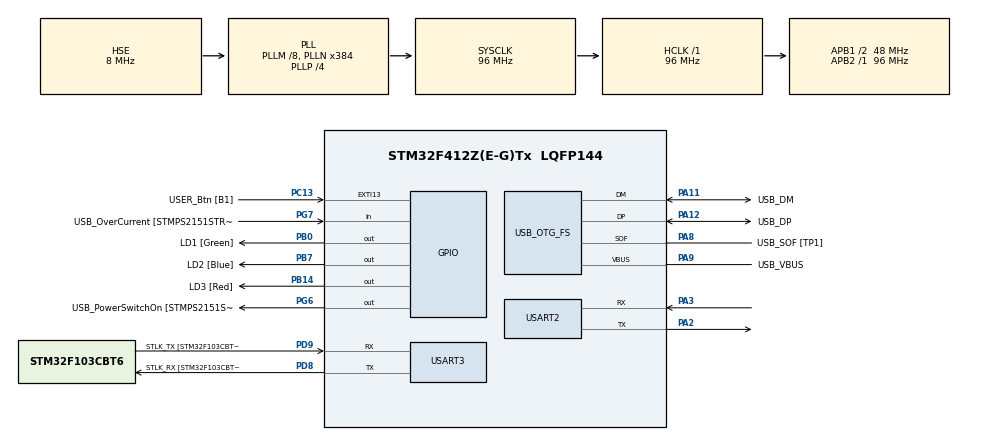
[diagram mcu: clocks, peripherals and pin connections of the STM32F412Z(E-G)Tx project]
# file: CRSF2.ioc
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Dma.Request0=USART2_RX
Dma.USART2_RX.0.Direction=DMA_PERIPH_TO_MEMORY
Dma.USART2_RX.0.FIFOMode=DMA_FIFOMODE_DISABLE
Dma.USART2_RX.0.Instance=DMA1_Stream5
Dma.USART2_RX.0.MemDataAlignment=DMA_MDATAALIGN_BYTE
Dma.USART2_RX.0.MemInc=DMA_MINC_ENABLE
Dma.USART2_RX.0.Mode=DMA_CIRCULAR
Dma.USART2_RX.0.PeriphDataAlignment=DMA_PDATAALIGN_BYTE
Dma.USART2_RX.0.PeriphInc=DMA_PINC_DISABLE
Dma.USART2_RX.0.Priority=DMA_PRIORITY_HIGH
Mcu.Family=STM32F4
Mcu.Name=STM32F412Z(E-G)Tx
Mcu.Package=LQFP144
NVIC.DMA1_Stream5_IRQn=true\:5\:0\:false\:false\:true\:false\:true\:true
NVIC.PriorityGroup=NVIC_PRIORITYGROUP_4
NVIC.USART2_IRQn=true\:5\:0\:false\:false\:true\:true\:true\:true
PA10.GPIO_Label=USB_ID
PA10.Signal=USB_OTG_FS_ID
PA11.GPIO_Label=USB_DM
PA11.Mode=Device_Only
PA11.Signal=USB_OTG_FS_DM
PA12.GPIO_Label=USB_DP
PA12.Mode=Device_Only
PA12.Signal=USB_OTG_FS_DP
PA13.GPIO_Label=TMS
PA13.Mode=Serial_Wire
PA13.Signal=SYS_JTMS-SWDIO
PA14.GPIO_Label=TCK
PA14.Mode=Serial_Wire
PA14.Signal=SYS_JTCK-SWCLK
PA2.Mode=Asynchronous
PA2.Signal=USART2_TX
PA3.Mode=Asynchronous
PA3.Signal=USART2_RX
PA8.GPIO_Label=USB_SOF [TP1]
PA8.Mode=Activate_SOF_FS
PA8.Signal=USB_OTG_FS_SOF
PA9.GPIO_Label=USB_VBUS
PA9.Mode=Activate_VBUS
PA9.Signal=USB_OTG_FS_VBUS
PB0.GPIO_Label=LD1 [Green]
PB0.Signal=GPIO_Output
PB14.GPIO_Label=LD3 [Red]
PB14.Signal=GPIO_Output
PB3.GPIO_Label=SWO
PB3.Signal=SYS_JTDO-SWO
PB7.GPIO_Label=LD2 [Blue]
PB7.Signal=GPIO_Output
PC13.GPIO_Label=USER_Btn [B1]
PC13.Signal=GPXTI13
PC14-OSC32_IN.Mode=LSE-External-Oscillator
PC14-OSC32_IN.Signal=RCC_OSC32_IN
PC15-OSC32_OUT.Mode=LSE-External-Oscillator
PC15-OSC32_OUT.Signal=RCC_OSC32_OUT
PD8.GPIO_Label=STLK_RX [STM32F103CBT6_PA3]
PD8.Mode=Asynchronous
PD8.Signal=USART3_TX
PD9.GPIO_Label=STLK_TX [STM32F103CBT6_PA2]
PD9.Mode=Asynchronous
PD9.Signal=USART3_RX
PG6.GPIO_Label=USB_PowerSwitchOn [STMPS2151STR_EN]
PG6.Signal=GPIO_Output
PG7.GPIO_Label=USB_OverCurrent [STMPS2151STR_FAULT]
PG7.Signal=GPIO_Input
PH0\ -\ OSC_IN.GPIO_Label=MCO
PH0\ -\ OSC_IN.Mode=HSE-External-Clock-Source
PH0\ -\ OSC_IN.Signal=RCC_OSC_IN
PH1\ -\ OSC_OUT.Mode=HSE-External-Clock-Source
PH1\ -\ OSC_OUT.Signal=RCC_OSC_OUT
ProjectManager.HeapSize=0x200
ProjectManager.StackSize=0x400
ProjectManager.TargetToolchain=STM32CubeIDE
RCC.48MHZClocksFreq_Value=24000000
RCC.AHBFreq_Value=96000000
RCC.APB1CLKDivider=RCC_HCLK_DIV2
RCC.APB1Freq_Value=48000000
RCC.APB1TimFreq_Value=96000000
RCC.APB2Freq_Value=96000000
RCC.APB2TimFreq_Value=96000000
RCC.CortexFreq_Value=96000000
RCC.HCLKFreq_Value=96000000
RCC.HSE_VALUE=8000000
RCC.HSI_VALUE=16000000
RCC.PLLM=8
RCC.PLLMUL=RCC_PLL_MUL9
RCC.PLLN=384
RCC.PLLP=RCC_PLLP_DIV4
RCC.PLLQ=8
RCC.PRESCALERUSB=RCC_USBCLKSOURCE_PLL_DIV1_5
RCC.SYSCLKFreq_VALUE=96000000
RCC.SYSCLKSource=RCC_SYSCLKSOURCE_PLLCLK
RCC.SYSCLKSourceVirtual=RCC_SYSCLKSOURCE_PLLCLK
RCC.USBFreq_Value=48000000
RCC.VCOOutputFreq_Value=384000000
USART2.VirtualMode=VM_ASYNC
USART3.VirtualMode=VM_ASYNC
USB_OTG_FS.VirtualMode=Device_Only
board=NUCLEO-F412ZG

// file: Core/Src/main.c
/* USER CODE BEGIN Header */
/**
  ******************************************************************************
  * @file           : main.c
  * @brief          : Main program body
  ******************************************************************************
  * @attention
  *
  * Copyright (c) 2026 STMicroelectronics.
  * All rights reserved.
  *
  * This software is licensed under terms that can be found in the LICENSE file
  * in the root directory of this software component.
  * If no LICENSE file comes with this software, it is provided AS-IS.
  *
  ******************************************************************************
  */
/* USER CODE END Header */
#include "main.h"

/* USER CODE BEGIN Includes */
#include "stdio.h" // Needed for debugging
#include "crsf.h"
/* USER CODE END Includes */

UART_HandleTypeDef huart2;
UART_HandleTypeDef huart3;
DMA_HandleTypeDef hdma_usart2_rx;

PCD_HandleTypeDef hpcd_USB_OTG_FS;

/* USER CODE BEGIN PV */
/* Latest receiver data, global so it can be watched in Live Expressions */
uint16_t rc_us[CRSF_NUM_CHANNELS];
CRSF_LinkStats_t rc_link;
bool rc_link_up;
/* USER CODE END PV */

void SystemClock_Config(void);
static void MX_GPIO_Init(void);
static void MX_DMA_Init(void);
static void MX_USART3_UART_Init(void);
static void MX_USB_OTG_FS_PCD_Init(void);
static void MX_USART2_UART_Init(void);

/* USER CODE BEGIN 0 */
int _write(int file, char *ptr , int len)
	{
		int DataIdx;
		for(DataIdx=0;DataIdx<len; DataIdx++){
			ITM_SendChar(*ptr++);
		}return len;
	}

/* USER CODE END 0 */

int main(void)
{

  /* MCU Configuration--------------------------------------------------------*/

  /* Reset of all peripherals, Initializes the Flash interface and the Systick. */
  HAL_Init();

  /* Configure the system clock */
  SystemClock_Config();

  /* Initialize all configured peripherals */
  MX_GPIO_Init();
  MX_DMA_Init();
  MX_USART3_UART_Init();
  MX_USB_OTG_FS_PCD_Init();
  MX_USART2_UART_Init();
  /* USER CODE BEGIN 2 */
  if (CRSF_Init(&huart2) != HAL_OK)
  {
    Error_Handler();
  }
  /* USER CODE END 2 */

  /* Infinite loop */
  while (1)
  {

    /* USER CODE BEGIN 3 */
    uint16_t raw[CRSF_NUM_CHANNELS];

    CRSF_GetChannels(raw);
    for (uint8_t i = 0U; i < CRSF_NUM_CHANNELS; i++)
    {
      rc_us[i] = CRSF_RawToUs(raw[i]);
      printf("Channel value: %d  - %d \n",i,rc_us[i]);

    }
    CRSF_GetLinkStats(&rc_link);
    rc_link_up = CRSF_IsLinkActive();

    /* Green LED = link up, red LED = no link / failsafe */
    HAL_GPIO_WritePin(LD1_GPIO_Port, LD1_Pin, rc_link_up ? GPIO_PIN_SET : GPIO_PIN_RESET);
    HAL_GPIO_WritePin(LD3_GPIO_Port, LD3_Pin, rc_link_up ? GPIO_PIN_RESET : GPIO_PIN_SET);
    printf("RC Link Status %c \n",rc_link_up);

    HAL_Delay(10);
  }
  /* USER CODE END 3 */
}

void SystemClock_Config(void)
{
  RCC_OscInitTypeDef RCC_OscInitStruct = {0};
  RCC_ClkInitTypeDef RCC_ClkInitStruct = {0};

  /** Configure the main internal regulator output voltage
  */
  __HAL_RCC_PWR_CLK_ENABLE();
  __HAL_PWR_VOLTAGESCALING_CONFIG(PWR_REGULATOR_VOLTAGE_SCALE1);

  /** Initializes the RCC Oscillators according to the specified parameters
  * in the RCC_OscInitTypeDef structure.
  */
  RCC_OscInitStruct.OscillatorType = RCC_OSCILLATORTYPE_HSE;
  RCC_OscInitStruct.HSEState = RCC_HSE_BYPASS;
  RCC_OscInitStruct.PLL.PLLState = RCC_PLL_ON;
  RCC_OscInitStruct.PLL.PLLSource = RCC_PLLSOURCE_HSE;
  RCC_OscInitStruct.PLL.PLLM = 8;
  RCC_OscInitStruct.PLL.PLLN = 384;
  RCC_OscInitStruct.PLL.PLLP = RCC_PLLP_DIV4;
  RCC_OscInitStruct.PLL.PLLQ = 8;
  RCC_OscInitStruct.PLL.PLLR = 2;
  if (HAL_RCC_OscConfig(&RCC_OscInitStruct) != HAL_OK)
  {
    Error_Handler();
  }

  /** Initializes the CPU, AHB and APB buses clocks
  */
  RCC_ClkInitStruct.ClockType = RCC_CLOCKTYPE_HCLK|RCC_CLOCKTYPE_SYSCLK
                              |RCC_CLOCKTYPE_PCLK1|RCC_CLOCKTYPE_PCLK2;
  RCC_ClkInitStruct.SYSCLKSource = RCC_SYSCLKSOURCE_PLLCLK;
  RCC_ClkInitStruct.AHBCLKDivider = RCC_SYSCLK_DIV1;
  RCC_ClkInitStruct.APB1CLKDivider = RCC_HCLK_DIV2;
  RCC_ClkInitStruct.APB2CLKDivider = RCC_HCLK_DIV1;

  if (HAL_RCC_ClockConfig(&RCC_ClkInitStruct, FLASH_LATENCY_3) != HAL_OK)
  {
    Error_Handler();
  }
}

static void MX_USART2_UART_Init(void)
{

  huart2.Instance = USART2;
  huart2.Init.BaudRate = 115200;
  huart2.Init.WordLength = UART_WORDLENGTH_8B;
  huart2.Init.StopBits = UART_STOPBITS_1;
  huart2.Init.Parity = UART_PARITY_NONE;
  huart2.Init.Mode = UART_MODE_TX_RX;
  huart2.Init.HwFlowCtl = UART_HWCONTROL_NONE;
  huart2.Init.OverSampling = UART_OVERSAMPLING_16;
  if (HAL_UART_Init(&huart2) != HAL_OK)
  {
    Error_Handler();
  }

}

static void MX_USART3_UART_Init(void)
{

  huart3.Instance = USART3;
  huart3.Init.BaudRate = 115200;
  huart3.Init.WordLength = UART_WORDLENGTH_8B;
  huart3.Init.StopBits = UART_STOPBITS_1;
  huart3.Init.Parity = UART_PARITY_NONE;
  huart3.Init.Mode = UART_MODE_TX_RX;
  huart3.Init.HwFlowCtl = UART_HWCONTROL_NONE;
  huart3.Init.OverSampling = UART_OVERSAMPLING_16;
  if (HAL_UART_Init(&huart3) != HAL_OK)
  {
    Error_Handler();
  }

}

static void MX_USB_OTG_FS_PCD_Init(void)
{

  hpcd_USB_OTG_FS.Instance = USB_OTG_FS;
  hpcd_USB_OTG_FS.Init.dev_endpoints = 6;
  hpcd_USB_OTG_FS.Init.speed = PCD_SPEED_FULL;
  hpcd_USB_OTG_FS.Init.dma_enable = DISABLE;
  hpcd_USB_OTG_FS.Init.phy_itface = PCD_PHY_EMBEDDED;
  hpcd_USB_OTG_FS.Init.Sof_enable = ENABLE;
  hpcd_USB_OTG_FS.Init.low_power_enable = DISABLE;
  hpcd_USB_OTG_FS.Init.lpm_enable = DISABLE;
  hpcd_USB_OTG_FS.Init.battery_charging_enable = ENABLE;
  hpcd_USB_OTG_FS.Init.vbus_sensing_enable = ENABLE;
  hpcd_USB_OTG_FS.Init.use_dedicated_ep1 = DISABLE;
  if (HAL_PCD_Init(&hpcd_USB_OTG_FS) != HAL_OK)
  {
    Error_Handler();
  }

}

static void MX_DMA_Init(void)
{

  /* DMA controller clock enable */
  __HAL_RCC_DMA1_CLK_ENABLE();

  /* DMA interrupt init */
  /* DMA1_Stream5_IRQn interrupt configuration */
  HAL_NVIC_SetPriority(DMA1_Stream5_IRQn, 5, 0);
  HAL_NVIC_EnableIRQ(DMA1_Stream5_IRQn);

}

static void MX_GPIO_Init(void)
{
  GPIO_InitTypeDef GPIO_InitStruct = {0};

  /* GPIO Ports Clock Enable */
  __HAL_RCC_GPIOC_CLK_ENABLE();
  __HAL_RCC_GPIOH_CLK_ENABLE();
  __HAL_RCC_GPIOA_CLK_ENABLE();
  __HAL_RCC_GPIOB_CLK_ENABLE();
  __HAL_RCC_GPIOD_CLK_ENABLE();
  __HAL_RCC_GPIOG_CLK_ENABLE();

  /*Configure GPIO pin Output Level */
  HAL_GPIO_WritePin(GPIOB, LD1_Pin|LD3_Pin|LD2_Pin, GPIO_PIN_RESET);

  /*Configure GPIO pin Output Level */
  HAL_GPIO_WritePin(USB_PowerSwitchOn_GPIO_Port, USB_PowerSwitchOn_Pin, GPIO_PIN_RESET);

  /*Configure GPIO pin : USER_Btn_Pin */
  GPIO_InitStruct.Pin = USER_Btn_Pin;
  GPIO_InitStruct.Mode = GPIO_MODE_IT_RISING;
  GPIO_InitStruct.Pull = GPIO_NOPULL;
  HAL_GPIO_Init(USER_Btn_GPIO_Port, &GPIO_InitStruct);

  /*Configure GPIO pins : LD1_Pin LD3_Pin LD2_Pin */
  GPIO_InitStruct.Pin = LD1_Pin|LD3_Pin|LD2_Pin;
  GPIO_InitStruct.Mode = GPIO_MODE_OUTPUT_PP;
  GPIO_InitStruct.Pull = GPIO_NOPULL;
  GPIO_InitStruct.Speed = GPIO_SPEED_FREQ_LOW;
  HAL_GPIO_Init(GPIOB, &GPIO_InitStruct);

  /*Configure GPIO pin : USB_PowerSwitchOn_Pin */
  GPIO_InitStruct.Pin = USB_PowerSwitchOn_Pin;
  GPIO_InitStruct.Mode = GPIO_MODE_OUTPUT_PP;
  GPIO_InitStruct.Pull = GPIO_NOPULL;
  GPIO_InitStruct.Speed = GPIO_SPEED_FREQ_LOW;
  HAL_GPIO_Init(USB_PowerSwitchOn_GPIO_Port, &GPIO_InitStruct);

  /*Configure GPIO pin : USB_OverCurrent_Pin */
  GPIO_InitStruct.Pin = USB_OverCurrent_Pin;
  GPIO_InitStruct.Mode = GPIO_MODE_INPUT;
  GPIO_InitStruct.Pull = GPIO_NOPULL;
  HAL_GPIO_Init(USB_OverCurrent_GPIO_Port, &GPIO_InitStruct);

}

/* USER CODE BEGIN 4 */
void HAL_UARTEx_RxEventCallback(UART_HandleTypeDef *huart, uint16_t Size)
{
  CRSF_RxEventCallback(huart, Size);
}

void HAL_UART_ErrorCallback(UART_HandleTypeDef *huart)
{
  CRSF_ErrorCallback(huart);
}
/* USER CODE END 4 */

void Error_Handler(void)
{
  __disable_irq();
  while (1)
  {
  }
}
